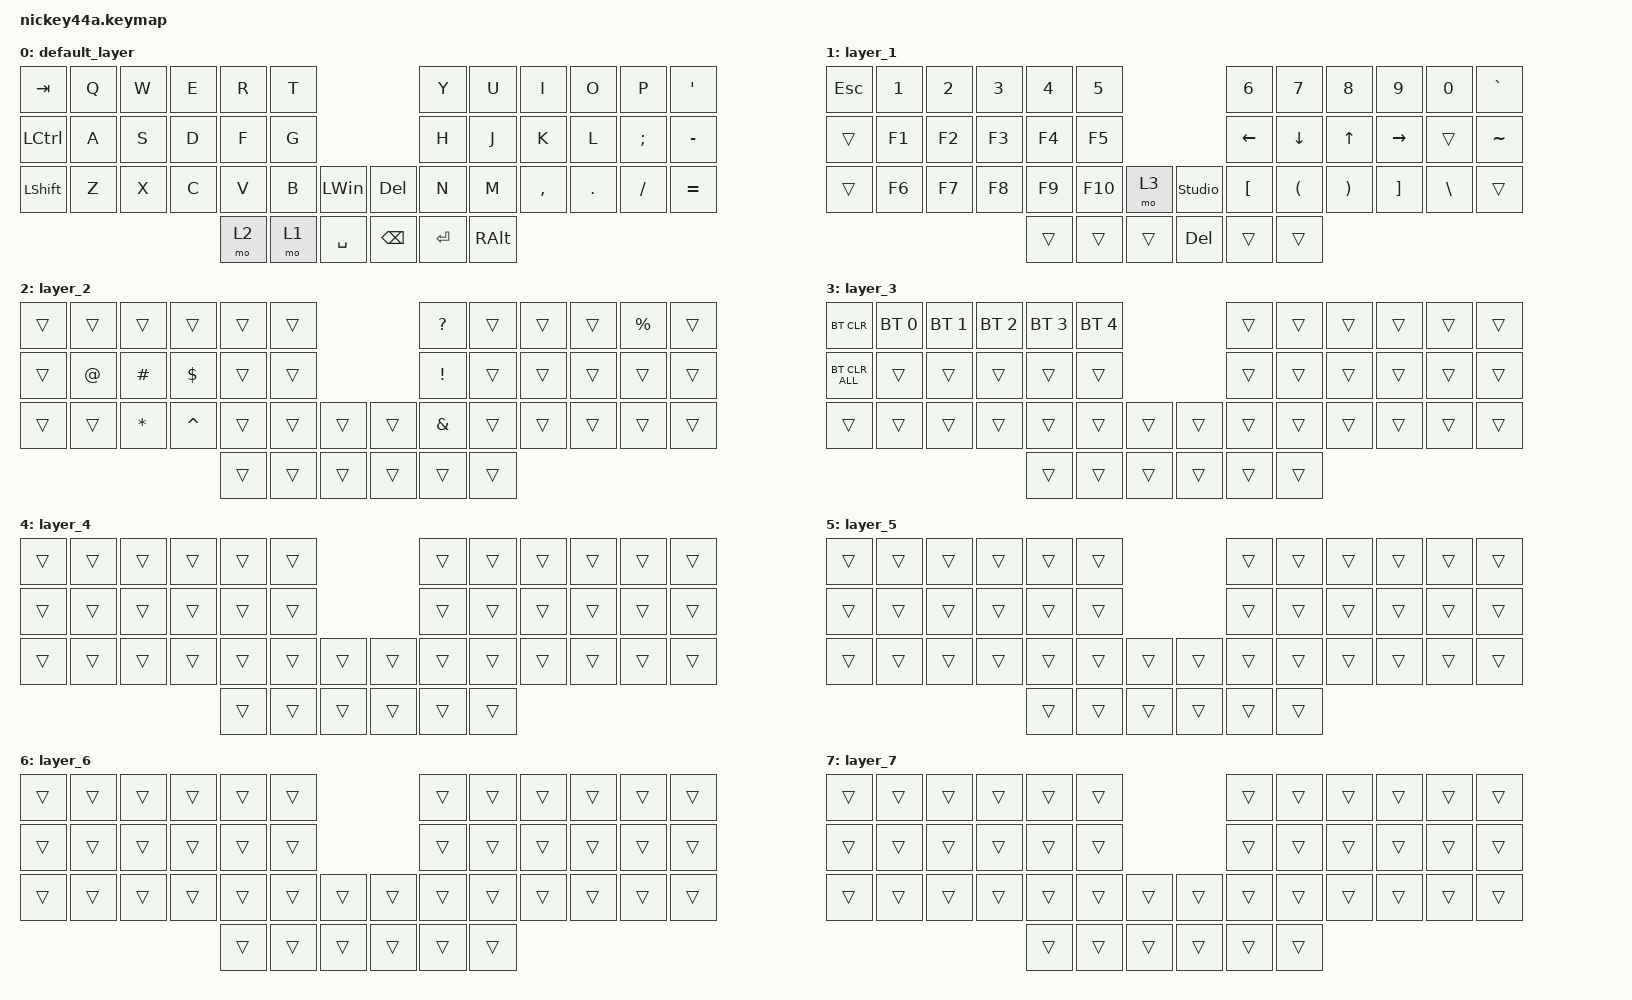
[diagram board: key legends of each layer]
#include <behaviors.dtsi>
#include <dt-bindings/zmk/bt.h>
#include <dt-bindings/zmk/keys.h>

&mt {
    flavor = "balanced";
    quick-tap-ms = <0>;
};

&lt {
    quick-tap-ms = <300>;
    flavor = "balanced";
};

/ {
    combos { compatible = "zmk,combos"; };

    macros {
        to_layer_0: to_layer_0 {
            compatible = "zmk,behavior-macro-one-param";
            #binding-cells = <1>;
            bindings = <&to 0 &macro_param_1to1 &kp MACRO_PLACEHOLDER>;
            label = "TO_LAYER_0";
        };
    };

    behaviors {
        lt_to_layer_0: lt_to_layer_0 {
            compatible = "zmk,behavior-hold-tap";
            label = "LAYER_TAP_TO_0";
            bindings = <&mo>, <&to_layer_0>;

            #binding-cells = <2>;
            tapping-term-ms = <200>;
        };

    };

    keymap {
        compatible = "zmk,keymap";

        default_layer {
            bindings = <
&kp TAB    &kp Q  &kp W  &kp E  &kp R  &kp T                              &kp Y    &kp U     &kp I      &kp O    &kp P     &kp SQT
&kp LCTRL  &kp A  &kp S  &kp D  &kp F  &kp G                              &kp H    &kp J     &kp K      &kp L    &kp SEMI  &kp MINUS
&kp LSHFT  &kp Z  &kp X  &kp C  &kp V  &kp B  &kp LEFT_WIN    &kp DELETE  &kp N    &kp M     &kp COMMA  &kp DOT  &kp FSLH  &kp EQUAL
                                &mo 2  &mo 1  &kp SPACE       &kp BSPC    &kp RET  &kp RALT
            >;
        };

        layer_1 {
            bindings = <
&kp ESCAPE  &kp NUMBER_1  &kp NUMBER_2  &kp NUMBER_3  &kp NUMBER_4  &kp NUMBER_5                            &kp NUMBER_6      &kp N7                &kp N8                 &kp N9             &kp N0         &kp GRAVE
&trans      &kp F1        &kp F2        &kp F3        &kp F4        &kp F5                                  &kp LEFT          &kp DOWN              &kp UP                 &kp RIGHT          &trans         &kp TILDE
&trans      &kp F6        &kp F7        &kp F8        &kp F9        &kp F10       &mo 3     &studio_unlock  &kp LEFT_BRACKET  &kp LEFT_PARENTHESIS  &kp RIGHT_PARENTHESIS  &kp RIGHT_BRACKET  &kp BACKSLASH  &trans
                                                      &trans        &trans        &trans    &kp DELETE      &trans            &trans
            >;
        };

        layer_2 {
            bindings = <
&trans  &trans  &trans     &trans      &trans  &trans                    &kp QUESTION   &trans  &trans  &trans  &kp PERCENT  &trans
&trans  &kp AT  &kp HASH   &kp DOLLAR  &trans  &trans                    &kp EXCL       &trans  &trans  &trans  &trans       &trans
&trans  &trans  &kp ASTRK  &kp CARET   &trans  &trans  &trans    &trans  &kp AMPERSAND  &trans  &trans  &trans  &trans       &trans
                                       &trans  &trans  &trans    &trans  &trans         &trans
            >;
        };

        layer_3 {
            bindings = <
&bt BT_CLR      &bt BT_SEL 0  &bt BT_SEL 1  &bt BT_SEL 2  &bt BT_SEL 3  &bt BT_SEL 4                    &trans  &trans  &trans  &trans  &trans  &trans
&bt BT_CLR_ALL  &trans        &trans        &trans        &trans        &trans                          &trans  &trans  &trans  &trans  &trans  &trans
&trans          &trans        &trans        &trans        &trans        &trans        &trans    &trans  &trans  &trans  &trans  &trans  &trans  &trans
                                                          &trans        &trans        &trans    &trans  &trans  &trans
            >;
        };

        layer_4 {
            bindings = <
&trans  &trans  &trans  &trans  &trans  &trans                    &trans  &trans  &trans  &trans  &trans  &trans
&trans  &trans  &trans  &trans  &trans  &trans                    &trans  &trans  &trans  &trans  &trans  &trans
&trans  &trans  &trans  &trans  &trans  &trans  &trans    &trans  &trans  &trans  &trans  &trans  &trans  &trans
                                        &trans  &trans  &trans    &trans  &trans  &trans
            >;
        };

        layer_5 {
            bindings = <
&trans  &trans  &trans  &trans  &trans  &trans                    &trans  &trans  &trans  &trans  &trans  &trans
&trans  &trans  &trans  &trans  &trans  &trans                    &trans  &trans  &trans  &trans  &trans  &trans
&trans  &trans  &trans  &trans  &trans  &trans  &trans    &trans  &trans  &trans  &trans  &trans  &trans  &trans
                                        &trans  &trans  &trans    &trans  &trans  &trans
            >;
        };

        layer_6 {
            bindings = <
&trans  &trans  &trans  &trans  &trans  &trans                    &trans  &trans  &trans  &trans  &trans  &trans
&trans  &trans  &trans  &trans  &trans  &trans                    &trans  &trans  &trans  &trans  &trans  &trans
&trans  &trans  &trans  &trans  &trans  &trans  &trans    &trans  &trans  &trans  &trans  &trans  &trans  &trans
                                        &trans  &trans  &trans    &trans  &trans  &trans
            >;
        };

        layer_7 {
            bindings = <
&trans  &trans  &trans  &trans  &trans  &trans                    &trans  &trans  &trans  &trans  &trans  &trans
&trans  &trans  &trans  &trans  &trans  &trans                    &trans  &trans  &trans  &trans  &trans  &trans
&trans  &trans  &trans  &trans  &trans  &trans  &trans    &trans  &trans  &trans  &trans  &trans  &trans  &trans
                                        &trans  &trans  &trans    &trans  &trans  &trans
            >;
        };
    };
};
